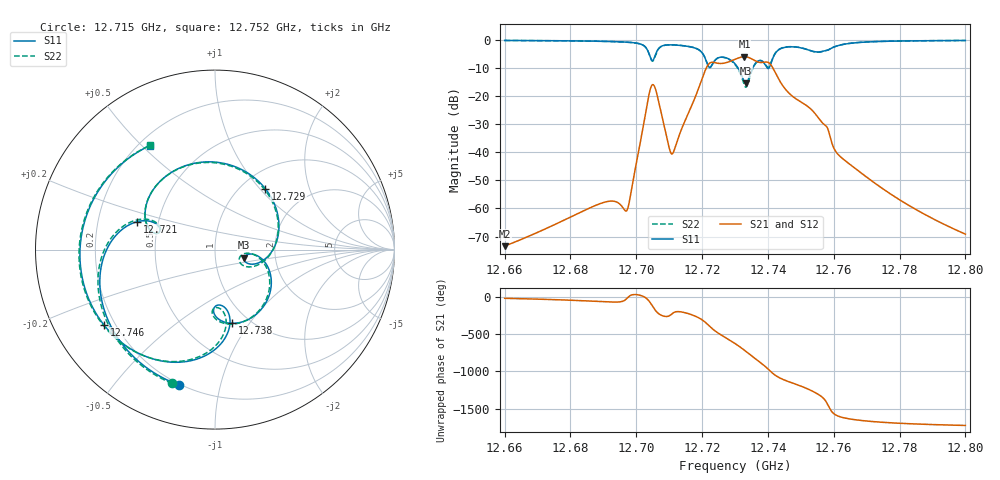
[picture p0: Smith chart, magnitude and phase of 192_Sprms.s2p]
! TOUCHSTONE file generated by CST MICROWAVE STUDIO
! Date and time: Wed Jul 31 20:37:38 2024
! Project name: WaveGuide_BPF-Ver4.1_U-shape_Ku_T3_C4_CWA_2.cst
! Parameters = {cavity_h=16; cavity_l0=10; cavity_l1=15.1974; cavity_l2=16.824; cavity_l3=17.0858; cavity_l4=17.3092; cavity_l5=17.1285; cavity_l6=17.5645; cavity_r=2.5; cavity_screw_l=0.5; cavity_screw_r=1.5; cavity_w=8; iris_h00=0; iris_h01=8.8289; iris_h112=0; iris_h12=5.5927; iris_h211=3.6586; i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
! Header version: 2018
! Port assignment regex: !\s*Touchstone port\s*([0-9]+)\s*=\s*(CST MWS port|CST DS port)\s*([0-9]+|Zmin|Zmax)\s*\(\"(.*)\"\)(\s*mode\s*([0-9]+))?.*
! Touchstone port assignment:
! Touchstone port 1 = CST MWS port 1 ("")
! Touchstone port 2 = CST MWS port 2 ("")
# GHz S RI R 50
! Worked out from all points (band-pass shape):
!   5001 points, 12.66 GHz to 12.8 GHz, reference 50 ohm
!   highest |S21| = -5.95 dB at 12.733 GHz (marker M1); lowest = -73.4 dB at 12.66 GHz (marker M2)
!   |S21| within 3 dB of the highest: 12.72176 GHz to 12.74097 GHz (19.2 MHz wide, 0.151 % of centre)
!   lowest |S11| = -15.5 dB at 12.733 GHz (marker M3), VSWR 1.41, Z = 69 - j6.47 ohm
!   |S11| at or under -10 dB: 12.73094 GHz to 12.73535 GHz (4.402 MHz wide, 0.0346 % of centre); 12.7398 GHz to 12.74032 GHz (521.1 kHz wide, 0.00409 % of centre)
!   |S22| runs from -16.8 to -0.2 dB; largest |S21 - S12| = 1e-09
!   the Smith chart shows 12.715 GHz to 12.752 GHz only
!   S11 on the Smith chart (normalised r, x): 12.715 GHz: 0.19, -0.75; 12.721 GHz: 0.38, +0.15; 12.729 GHz: 1.27, +1.07; 12.738 GHz: 0.83, -0.83; 12.746 GHz: 0.16, -0.30; 12.752 GHz: 0.24, +0.53
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12.66  0.3343 0.9223  0.000195 -8.68e-05  0.000195 -8.68e-05  0.3455 0.918
12.68335  0.7376 0.6152  0.000495 -0.000718  0.000495 -0.000718  0.7511 0.5976
12.6971  0.9147 0.0164  0.000812 -0.000418  0.000812 -0.000418  0.9133 -0.0193
12.70418  0.3797 -0.3323  0.0266 -0.1257  0.0266 -0.1257  0.3587 -0.3565
12.70668  0.6587 -0.2039  -0.061 0.0607  -0.061 0.0607  0.642 -0.2294
12.71071  0.425 -0.7001  -0.00519 0.00781  -0.00519 0.00781  0.3868 -0.7214
12.71496  -0.1993 -0.7546  -0.03 0.0234  -0.03 0.0234  -0.2384 -0.7459
12.72101  -0.4351 0.1551  0.2828 0.0754  0.2828 0.0754  -0.4326 0.1658
12.7239  -0.3894 0.1886  -0.0516 -0.3916  -0.0516 -0.3916  -0.3905 0.1872
12.72866  0.2801 0.3396  -0.272 0.3198  -0.272 0.3198  0.2821 0.3275
12.73  0.3563 0.1221  -0.0225 0.4521  -0.0225 0.4521  0.3517 0.1013
12.73288  0.1658 -0.0644  0.5034 0.022  0.5034 0.022  0.1382 -0.0707
12.7333  0.1624 -0.0455  0.4915 -0.103  0.4915 -0.103  0.136 -0.0471
12.7382  0.0944 -0.4108  -0.3973 -0.0203  -0.3973 -0.0203  0.0857 -0.4153
12.74044  0.0516 -0.3203  -0.0361 0.3844  -0.0361 0.3844  0.0376 -0.3367
12.74565  -0.6185 -0.42  0.088 -0.09  0.088 -0.09  -0.6349 -0.405
12.75164  -0.3638 0.5792  -0.0557 -0.0399  -0.0557 -0.0399  -0.3629 0.5806
12.75335  0.0548 0.6336  -0.0566 -0.000985  -0.0566 -0.000985  0.0579 0.6302
12.75682  0.6323 -0.0336  0.00332 0.0321  0.00332 0.0321  0.6253 -0.0575
12.76178  0.1021 -0.8006  -0.00823 -0.00253  -0.00823 -0.00253  0.064 -0.8064
12.77668  -0.8842 -0.3474  -0.000848 0.00171  -0.000848 0.00171  -0.8936 -0.3261
12.8  -0.951 0.2354  6.45e-05 0.000342  6.45e-05 0.000342  -0.9484 0.2471
